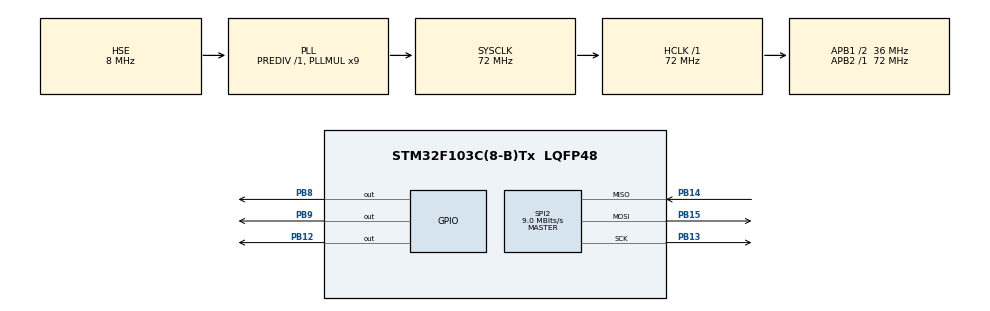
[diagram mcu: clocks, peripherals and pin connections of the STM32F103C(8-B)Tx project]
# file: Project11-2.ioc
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Mcu.Family=STM32F1
Mcu.Name=STM32F103C(8-B)Tx
Mcu.Package=LQFP48
NVIC.PriorityGroup=NVIC_PRIORITYGROUP_4
PA13.Mode=Serial_Wire
PA13.Signal=SYS_JTMS-SWDIO
PA14.Mode=Serial_Wire
PA14.Signal=SYS_JTCK-SWCLK
PB12.GPIO_PuPd=GPIO_PULLUP
PB12.PinState=GPIO_PIN_SET
PB12.Signal=GPIO_Output
PB13.Mode=Full_Duplex_Master
PB13.Signal=SPI2_SCK
PB14.Mode=Full_Duplex_Master
PB14.Signal=SPI2_MISO
PB15.Mode=Full_Duplex_Master
PB15.Signal=SPI2_MOSI
PB8.GPIO_ModeDefaultOutputPP=GPIO_MODE_OUTPUT_OD
PB8.GPIO_PuPd=GPIO_NOPULL
PB8.Signal=GPIO_Output
PB9.GPIO_ModeDefaultOutputPP=GPIO_MODE_OUTPUT_OD
PB9.GPIO_PuPd=GPIO_NOPULL
PB9.Signal=GPIO_Output
PC14-OSC32_IN.Mode=LSE-External-Oscillator
PC14-OSC32_IN.Signal=RCC_OSC32_IN
PC15-OSC32_OUT.Mode=LSE-External-Oscillator
PC15-OSC32_OUT.Signal=RCC_OSC32_OUT
PD0-OSC_IN.Mode=HSE-External-Oscillator
PD0-OSC_IN.Signal=RCC_OSC_IN
PD1-OSC_OUT.Mode=HSE-External-Oscillator
PD1-OSC_OUT.Signal=RCC_OSC_OUT
ProjectManager.HeapSize=0x200
ProjectManager.StackSize=0x400
ProjectManager.TargetToolchain=MDK-ARM V5.32
RCC.AHBFreq_Value=72000000
RCC.APB1CLKDivider=RCC_HCLK_DIV2
RCC.APB1Freq_Value=36000000
RCC.APB1TimFreq_Value=72000000
RCC.APB2Freq_Value=72000000
RCC.APB2TimFreq_Value=72000000
RCC.HCLKFreq_Value=72000000
RCC.PLLMUL=RCC_PLL_MUL9
RCC.PLLSourceVirtual=RCC_PLLSOURCE_HSE
RCC.SYSCLKFreq_VALUE=72000000
RCC.SYSCLKSource=RCC_SYSCLKSOURCE_PLLCLK
RCC.USBFreq_Value=72000000
SPI2.BaudRatePrescaler=SPI_BAUDRATEPRESCALER_4
SPI2.CalculateBaudRate=9.0 MBits/s
SPI2.Direction=SPI_DIRECTION_2LINES
SPI2.Mode=SPI_MODE_MASTER
SPI2.VirtualType=VM_MASTER
board=custom

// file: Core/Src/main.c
/* USER CODE BEGIN Header */
/**
  ******************************************************************************
  * @file           : main.c
  * @brief          : Main program body
  ******************************************************************************
  * @attention
  *
  * Copyright (c) 2025 STMicroelectronics.
  * All rights reserved.
  *
  * This software is licensed under terms that can be found in the LICENSE file
  * in the root directory of this software component.
  * If no LICENSE file comes with this software, it is provided AS-IS.
  *
  ******************************************************************************
  */
/* USER CODE END Header */
#include "main.h"
#include "spi.h"
#include "gpio.h"

/* USER CODE BEGIN Includes */
#include "OLED.h"
#include "W25Q64.h"
/* USER CODE END Includes */

/* USER CODE BEGIN PV */
uint8_t MID;							//定义用于存放MID号的变量
uint16_t DID;							//定义用于存放DID号的变量
uint8_t ArrayWrite[] = {0x01, 0x02, 0x03, 0x04};	//定义要写入数据的测试数组
uint8_t ArrayRead[4];
/* USER CODE END PV */

void SystemClock_Config(void);

int main(void)
{

  /* MCU Configuration--------------------------------------------------------*/

  /* Reset of all peripherals, Initializes the Flash interface and the Systick. */
  HAL_Init();

  /* Configure the system clock */
  SystemClock_Config();

  /* Initialize all configured peripherals */
  MX_GPIO_Init();
  MX_SPI2_Init();
  /* USER CODE BEGIN 2 */
  // 模块初始化
  OLED_Init();							//  OLED初始化
  W25Q64_Init();						//  W25Q64初始化
  /* USER CODE END 2 */

  /* Infinite loop */
  /* USER CODE BEGIN WHILE */
  /*显示静态字符串*/
  OLED_ShowString(1, 1, "MID:   DID:");
  OLED_ShowString(2, 1, "W:");
  OLED_ShowString(3, 1, "R:");
  /*显示ID号*/
  W25Q64_ReadID(&MID, &DID);			//获取W25Q64的ID号
  OLED_ShowHexNum(1, 5, MID, 2);		//显示MID
  OLED_ShowHexNum(1, 12, DID, 4);		//显示DID
  /*W25Q64功能函数测试*/
  W25Q64_SectorErase(0x000000);					//扇区擦除
  W25Q64_PageProgram(0x000000, ArrayWrite, 4);	//将写入数据的测试数组写入到W25Q64中
  W25Q64_ReadData(0x000000, ArrayRead, 4);		//读取刚写入的测试数据到读取数据的测试数组中
  /*显示数据*/
  OLED_ShowHexNum(2, 3, ArrayWrite[0], 2);		//显示写入数据的测试数组
  OLED_ShowHexNum(2, 6, ArrayWrite[1], 2);
  OLED_ShowHexNum(2, 9, ArrayWrite[2], 2);
  OLED_ShowHexNum(2, 12, ArrayWrite[3], 2);
  OLED_ShowHexNum(3, 3, ArrayRead[0], 2);			//显示读取数据的测试数组
  OLED_ShowHexNum(3, 6, ArrayRead[1], 2);
  OLED_ShowHexNum(3, 9, ArrayRead[2], 2);
  OLED_ShowHexNum(3, 12, ArrayRead[3], 2);
  while (1)
  {
    /* USER CODE END WHILE */

  }
}

void SystemClock_Config(void)
{
  RCC_OscInitTypeDef RCC_OscInitStruct = {0};
  RCC_ClkInitTypeDef RCC_ClkInitStruct = {0};

  /** Initializes the RCC Oscillators according to the specified parameters
  * in the RCC_OscInitTypeDef structure.
  */
  RCC_OscInitStruct.OscillatorType = RCC_OSCILLATORTYPE_HSE;
  RCC_OscInitStruct.HSEState = RCC_HSE_ON;
  RCC_OscInitStruct.HSEPredivValue = RCC_HSE_PREDIV_DIV1;
  RCC_OscInitStruct.HSIState = RCC_HSI_ON;
  RCC_OscInitStruct.PLL.PLLState = RCC_PLL_ON;
  RCC_OscInitStruct.PLL.PLLSource = RCC_PLLSOURCE_HSE;
  RCC_OscInitStruct.PLL.PLLMUL = RCC_PLL_MUL9;
  if (HAL_RCC_OscConfig(&RCC_OscInitStruct) != HAL_OK)
  {
    Error_Handler();
  }

  /** Initializes the CPU, AHB and APB buses clocks
  */
  RCC_ClkInitStruct.ClockType = RCC_CLOCKTYPE_HCLK|RCC_CLOCKTYPE_SYSCLK
                              |RCC_CLOCKTYPE_PCLK1|RCC_CLOCKTYPE_PCLK2;
  RCC_ClkInitStruct.SYSCLKSource = RCC_SYSCLKSOURCE_PLLCLK;
  RCC_ClkInitStruct.AHBCLKDivider = RCC_SYSCLK_DIV1;
  RCC_ClkInitStruct.APB1CLKDivider = RCC_HCLK_DIV2;
  RCC_ClkInitStruct.APB2CLKDivider = RCC_HCLK_DIV1;

  if (HAL_RCC_ClockConfig(&RCC_ClkInitStruct, FLASH_LATENCY_2) != HAL_OK)
  {
    Error_Handler();
  }
}

void Error_Handler(void)
{
  __disable_irq();
  while (1)
  {
  }
}
